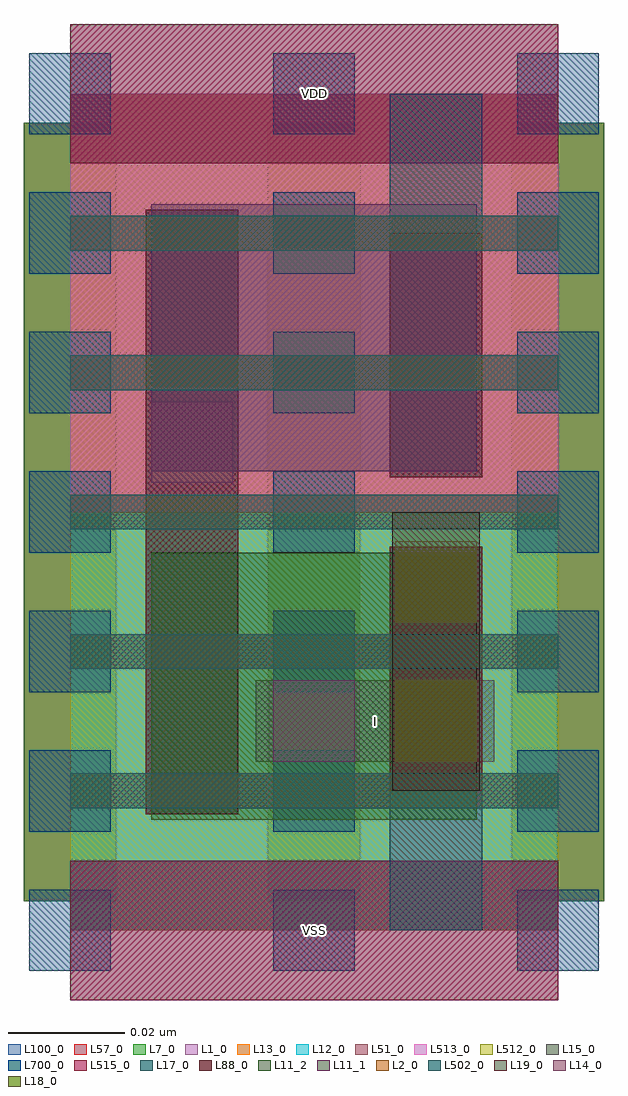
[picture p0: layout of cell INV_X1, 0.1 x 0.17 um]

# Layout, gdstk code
import gdstk
lib = gdstk.Library(unit=1e-6, precision=2.5e-10)
def R(c, l, rs):  # rectangles x0, y0, x1, y1
    for r in rs: c.add(gdstk.rectangle(r[:2], r[2:], *l))
def A(c, l, x, y, w, h, nx, ny, dx, dy):  # array of equal rectangles
    R(c, l, [(x+i*dx, y+j*dy, x+i*dx+w, y+j*dy+h) for i in range(nx) for j in range(ny)])
L1_0 = (1, 0)
L2_0 = (2, 0)
L7_0 = (7, 0)
L11_1 = (11, 1)
L11_2 = (11, 2)
L12_0 = (12, 0)
L13_0 = (13, 0)
L14_0 = (14, 0)
L15_0 = (15, 0)
L17_0 = (17, 0)
L18_0 = (18, 0)
L19_0 = (19, 0)
L51_0 = (51, 0)
L57_0 = (57, 0)
L88_0 = (88, 0)
L100_0 = (100, 0)
L502_0 = (502, 0)
L512_0 = (512, 0)
L513_0 = (513, 0)
L515_0 = (515, 0)
L700_0 = (700, 0)

inv_x1 = lib.new_cell('INV_X1')
R(inv_x1, L1_0, [(0,0.072,0.084,0.144)])
A(inv_x1, L2_0, 0, 0.021, 0.084, 0.006, 1, 5, 0, 0.024)
A(inv_x1, L7_0, -0.008, 0.005, 0.016, 0.134, 3, 1, 0.042, 0)
R(inv_x1, L11_1, [(0.014,0.079,0.07,0.125)])
R(inv_x1, L11_2, [(0.014,0.019,0.07,0.065)])
R(inv_x1, L12_0, [(0,0,0.084,0.072)])
R(inv_x1, L13_0, [(0,0.072,0.084,0.144)])
R(inv_x1, L14_0, [(0.035,0.029,0.049,0.043), (0.014,0.077,0.028,0.091)])
R(inv_x1, L15_0, [(0,-0.012,0.084,0.012), (0.032,0.029,0.073,0.043), (0,0.132,0.084,0.156)])
R(inv_x1, L17_0, [(0.055,0,0.071,0.066), (0.013,0.02,0.029,0.124), (0.055,0.078,0.071,0.144)])
R(inv_x1, L18_0, [(0.056,0.029,0.07,0.043), (0.056,0.053,0.07,0.067)])
R(inv_x1, L19_0, [(0.0555,0.024,0.0705,0.072)])
R(inv_x1, L51_0, [(0,0.072,0.084,0.144)])
A(inv_x1, L57_0, -0.008, 0.005, 0.016, 0.134, 3, 1, 0.042, 0)
R(inv_x1, L88_0, [(0.013,0.02,0.029,0.124), (0.055,0.024,0.071,0.066), (0.055,0.078,0.071,0.12)])
R(inv_x1, L100_0, [(0,0,0.084,0.144)])
A(inv_x1, L502_0, 0, 0.021, 0.084, 0.006, 1, 5, 0, 0.024)
R(inv_x1, L512_0, [(0,0,0.084,0.072)])
R(inv_x1, L513_0, [(0,0.072,0.084,0.144)])
R(inv_x1, L515_0, [(0,-0.012,0.084,0.012), (0,0.132,0.084,0.156)])
A(inv_x1, L700_0, -0.007, -0.007, 0.014, 0.014, 3, 7, 0.042, 0.024)
inv_x1.add(gdstk.Label('VSS', (0.042,0), layer=15, texttype=0))
inv_x1.add(gdstk.Label('VDD', (0.042,0.144), layer=15, texttype=0))
inv_x1.add(gdstk.Label('I', (0.0525,0.036), layer=15, texttype=0))
inv_x1.add(gdstk.Label('VSS', (0.042,0), layer=515, texttype=0))
inv_x1.add(gdstk.Label('VDD', (0.042,0.144), layer=515, texttype=0))

lib.write_gds('INV_X1.gds')
